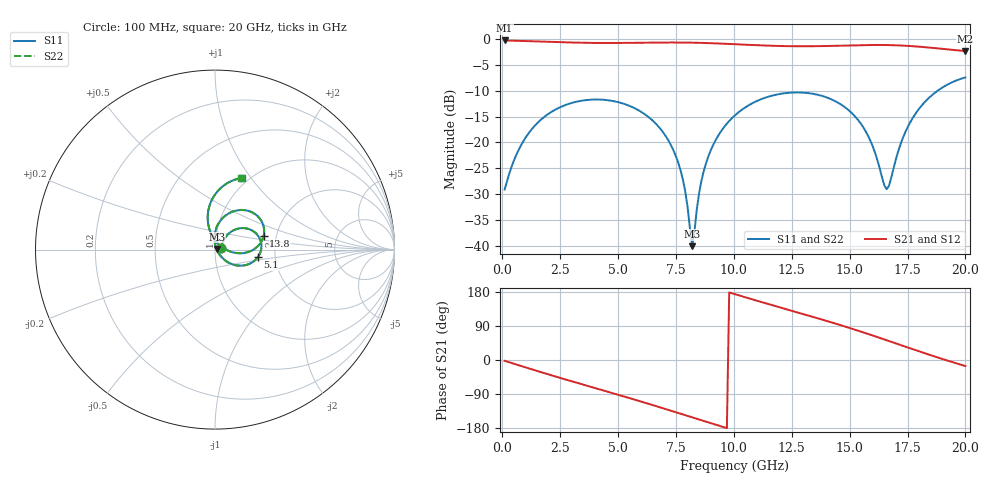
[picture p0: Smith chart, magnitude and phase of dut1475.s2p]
! Touchstone file exported from HFSS 2026.1.0
!  File:  C:/ffzhzh/LocalFiles/Ansys_Project_Files/temp_train_TSV_RDL_1475_1783362337_46376.aedt
!  Generated:  02:38:22 AM Jul  7, 2026
!  Design:  TSV_RDL
!  Project:  temp_train_TSV_RDL_1475_1783362337_46376
! Variables:
!  h_bsmrdl = 5.77um
!  h_ox = 20um
!  h_rdl = 5um
!  h_sub = 93.12um
!  h_tmrdl = 4.79um
!  h_tsv = 93.12um
!  h_via = 3um
!  l_bsmrdl = 476.74um
!  l_sub = 5648.8um
!  l_tmrdl = 929.28um
!  m_sub = 200um
!  pitch = 25.96um
!  r_tsv = 4.99um
!  s_tmrdl = 10um
!  w_bsmrdl = 23.28um
!  w_sub = 500um
!  w_tmrdl = 10.54um
!  x_tsv_center1 = 934.55um
!  x_tsv_center2 = 1434.57um
!  x_tsv_center3 = 2374.39um
!  x_tsv_center4 = 2874.41um
!  x_tsv_center5 = 3814.23um
!  x_tsv_center6 = 4314.25um
# GHz S MA R 50.000000
! Terminal data exported
! Port[1] = TM_RDL1_1_T1
! Port[2] = TM_RDL5_1_T1
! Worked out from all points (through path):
!   200 points, 100 MHz to 20 GHz, reference 50 ohm
!   highest |S21| = -0.29 dB at 100 MHz (marker M1); lowest = -2.3 dB at 20 GHz (marker M2)
!   group delay of S21, straight-line fit = 51.8 ps
!   lowest |S11| = -40.1 dB at 8.2 GHz (marker M3), VSWR 1.02, Z = 51 + j0.301 ohm
!   |S11| at or under -10 dB: start of sweep to 18.8 GHz
!   |S22| runs from -41.3 to -7.4 dB; largest |S21 - S12| = 1.6e-14
!   S11 on the Smith chart (normalised r, x): 100 MHz: 1.07, +0.02; 5.1 GHz: 1.62, -0.15; 13.8 GHz: 1.71, +0.29; 20 GHz: 0.93, +0.90
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0.1  0.03503 19.3  0.9673 -2.1  0.9673 -2.1  0.03503 19.3
! Gamma 0 0 0 0
! Port Impedance 50 0 50 0
0.7  0.08413 49.2  0.9587 -13.7  0.9587 -13.7  0.08414 49.2
1.4  0.1446 46.8  0.9489 -27.0  0.9489 -27.0  0.1447 46.8
3.5  0.2545 15.9  0.9187 -65.1  0.9187 -65.1  0.2546 15.9
5.1  0.2417 -10.3  0.9152 -93.5  0.9152 -93.5  0.2418 -10.4
6.8  0.1376 -38.2  0.9237 -124.7  0.9237 -124.7  0.1377 -38.6
7.7  0.05354 -48.0  0.9239 -141.8  0.9239 -141.8  0.05349 -49.3
8  0.02392 -39.7  0.9223 -147.5  0.9223 -147.5  0.02358 -42.7
8.2  0.009925 17.3  0.9208 -151.4  0.9208 -151.4  0.008639 15.4
8.5  0.03232 88.9  0.9177 -157.1  0.9177 -157.1  0.03177 91.1
8.8  0.06304 92.2  0.9137 -162.8  0.9137 -162.8  0.06266 93.4
10.1  0.1871 75.0  0.889 172.7  0.889 172.7  0.1868 75.4
11.6  0.2812 50.6  0.8601 145.7  0.8601 145.7  0.281 50.9
13.4  0.2955 22.0  0.8505 114.1  0.8505 114.1  0.2953 22.3
13.8  0.2818 15.8  0.853 106.9  0.853 106.9  0.2817 16.0
15.4  0.1609 -6.9  0.871 76.7  0.871 76.7  0.1609 -6.6
16  0.09131 -8.2  0.8751 64.6  0.8751 64.6  0.0914 -7.7
16.5  0.03835 26.4  0.8744 54.2  0.8744 54.2  0.03882 27.0
16.7  0.03807 67.5  0.8728 50.1  0.8728 50.1  0.03862 67.5
17.3  0.1104 105.1  0.8629 37.5  0.8629 37.5  0.1107 105.0
17.9  0.1973 101.8  0.8457 24.9  0.8457 24.9  0.1975 101.8
20  0.4247 69.6  0.7643 -16.0  0.7643 -16.0  0.4248 69.7
